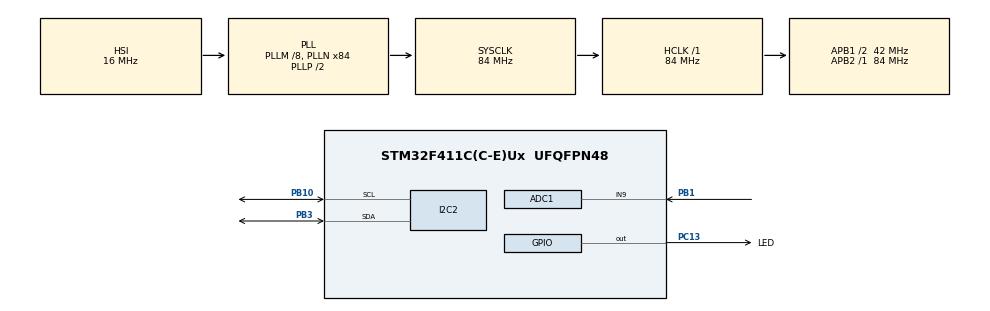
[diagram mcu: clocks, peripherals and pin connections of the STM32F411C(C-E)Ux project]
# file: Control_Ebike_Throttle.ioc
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ADC1.Channel-0\#ChannelRegularConversion=ADC_CHANNEL_9
ADC1.ContinuousConvMode=ENABLE
ADC1.NbrOfConversionFlag=1
ADC1.Rank-0\#ChannelRegularConversion=1
ADC1.SamplingTime-0\#ChannelRegularConversion=ADC_SAMPLETIME_3CYCLES
ADC1.master=1
Mcu.Family=STM32F4
Mcu.Name=STM32F411C(C-E)Ux
Mcu.Package=UFQFPN48
NVIC.PriorityGroup=NVIC_PRIORITYGROUP_4
PA13.Mode=Serial_Wire
PA13.Signal=SYS_JTMS-SWDIO
PA14.Mode=Serial_Wire
PA14.Signal=SYS_JTCK-SWCLK
PB1.Signal=ADCx_IN9
PB10.Mode=I2C
PB10.Signal=I2C2_SCL
PB3.Mode=I2C
PB3.Signal=I2C2_SDA
PC13-ANTI_TAMP.GPIO_Label=LED
PC13-ANTI_TAMP.Signal=GPIO_Output
PH0\ -\ OSC_IN.Mode=HSE-External-Oscillator
PH0\ -\ OSC_IN.Signal=RCC_OSC_IN
PH1\ -\ OSC_OUT.Mode=HSE-External-Oscillator
PH1\ -\ OSC_OUT.Signal=RCC_OSC_OUT
ProjectManager.HeapSize=0x200
ProjectManager.StackSize=0x400
ProjectManager.TargetToolchain=STM32CubeIDE
RCC.48MHZClocksFreq_Value=42000000
RCC.AHBFreq_Value=84000000
RCC.APB1CLKDivider=RCC_HCLK_DIV2
RCC.APB1Freq_Value=42000000
RCC.APB1TimFreq_Value=84000000
RCC.APB2Freq_Value=84000000
RCC.APB2TimFreq_Value=84000000
RCC.CortexFreq_Value=84000000
RCC.HCLKFreq_Value=84000000
RCC.HSE_VALUE=8000000
RCC.HSI_VALUE=16000000
RCC.LSE_VALUE=32768
RCC.PLLM=8
RCC.PLLN=84
RCC.SYSCLKFreq_VALUE=84000000
RCC.SYSCLKSource=RCC_SYSCLKSOURCE_PLLCLK
RCC.VCOOutputFreq_Value=168000000
SH.ADCx_IN9.0=ADC1_IN9,IN9
TIM1.Period=65500
TIM1.Prescaler=70-1
VP_TIM1_VS_ClockSourceINT.Mode=Internal
board=custom

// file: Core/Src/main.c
/* USER CODE BEGIN Header */
/**
  ******************************************************************************
  * @file           : main.c
  * @brief          : Main program body
  ******************************************************************************
  * @attention
  *
  * Copyright (c) 2024 STMicroelectronics.
  * All rights reserved.
  *
  * This software is licensed under terms that can be found in the LICENSE file
  * in the root directory of this software component.
  * If no LICENSE file comes with this software, it is provided AS-IS.
  *
  ******************************************************************************
  */
/* USER CODE END Header */
#include "main.h"
#include "adc.h"
#include "i2c.h"
#include "tim.h"
#include "gpio.h"

/* USER CODE BEGIN Includes */
#include "MCP4725.h"
#include "stdio.h"
#include "ThrottleADC.h"
/* USER CODE END Includes */

/* USER CODE BEGIN PV */
MCP4725 myDAC;
float outputVoltage;
uint32_t adc_val;
/* USER CODE END PV */

void SystemClock_Config(void);

int main(void)
{

  /* MCU Configuration--------------------------------------------------------*/

  /* Reset of all peripherals, Initializes the Flash interface and the Systick. */
  HAL_Init();

  /* Configure the system clock */
  SystemClock_Config();

  /* Initialize all configured peripherals */
  MX_GPIO_Init();
  MX_I2C2_Init();
  MX_TIM1_Init();
  MX_ADC1_Init();
  /* USER CODE BEGIN 2 */

  /* Initialize I2C */
   I2C_HandleTypeDef hi2c;
   // Init the structure according to your controller settings

   /* Initialize DAC */
   myDAC = MCP4725_init(&hi2c2, MCP4725A0_ADDR_A00, MCP4725_REFERENCE_VOLTAGE);

   /* Check connection with DAC */
   if (!MCP4725_isConnected(&myDAC))
   {
       HAL_GPIO_WritePin(LED_GPIO_Port, LED_Pin, GPIO_PIN_SET);
   }
   else
   {
       HAL_GPIO_WritePin(LED_GPIO_Port, LED_Pin, GPIO_PIN_RESET);
   }

  /* USER CODE END 2 */

  /* Infinite loop */
  /* USER CODE BEGIN WHILE */
  while (1)
  {

	    Throttle_Get_Voltage(&hadc1, &outputVoltage);
	    Throttle_Get_ADC_Value(&hadc1, &adc_val);
	    if(!MCP4725_setVoltage(&myDAC, outputVoltage , MCP4725_FAST_MODE, MCP4725_POWER_DOWN_OFF))
	    {
	      /* Handle error */
	    }
	    HAL_Delay(20);  /* 20 ms delay for smoother control */

    /* USER CODE END WHILE */

  }
}

void SystemClock_Config(void)
{
  RCC_OscInitTypeDef RCC_OscInitStruct = {0};
  RCC_ClkInitTypeDef RCC_ClkInitStruct = {0};

  /** Configure the main internal regulator output voltage
  */
  __HAL_RCC_PWR_CLK_ENABLE();
  __HAL_PWR_VOLTAGESCALING_CONFIG(PWR_REGULATOR_VOLTAGE_SCALE1);

  /** Initializes the RCC Oscillators according to the specified parameters
  * in the RCC_OscInitTypeDef structure.
  */
  RCC_OscInitStruct.OscillatorType = RCC_OSCILLATORTYPE_HSI;
  RCC_OscInitStruct.HSIState = RCC_HSI_ON;
  RCC_OscInitStruct.HSICalibrationValue = RCC_HSICALIBRATION_DEFAULT;
  RCC_OscInitStruct.PLL.PLLState = RCC_PLL_ON;
  RCC_OscInitStruct.PLL.PLLSource = RCC_PLLSOURCE_HSI;
  RCC_OscInitStruct.PLL.PLLM = 8;
  RCC_OscInitStruct.PLL.PLLN = 84;
  RCC_OscInitStruct.PLL.PLLP = RCC_PLLP_DIV2;
  RCC_OscInitStruct.PLL.PLLQ = 4;
  if (HAL_RCC_OscConfig(&RCC_OscInitStruct) != HAL_OK)
  {
    Error_Handler();
  }

  /** Initializes the CPU, AHB and APB buses clocks
  */
  RCC_ClkInitStruct.ClockType = RCC_CLOCKTYPE_HCLK|RCC_CLOCKTYPE_SYSCLK
                              |RCC_CLOCKTYPE_PCLK1|RCC_CLOCKTYPE_PCLK2;
  RCC_ClkInitStruct.SYSCLKSource = RCC_SYSCLKSOURCE_PLLCLK;
  RCC_ClkInitStruct.AHBCLKDivider = RCC_SYSCLK_DIV1;
  RCC_ClkInitStruct.APB1CLKDivider = RCC_HCLK_DIV2;
  RCC_ClkInitStruct.APB2CLKDivider = RCC_HCLK_DIV1;

  if (HAL_RCC_ClockConfig(&RCC_ClkInitStruct, FLASH_LATENCY_2) != HAL_OK)
  {
    Error_Handler();
  }
}

void Error_Handler(void)
{
  __disable_irq();
  while (1)
  {
  }
}
